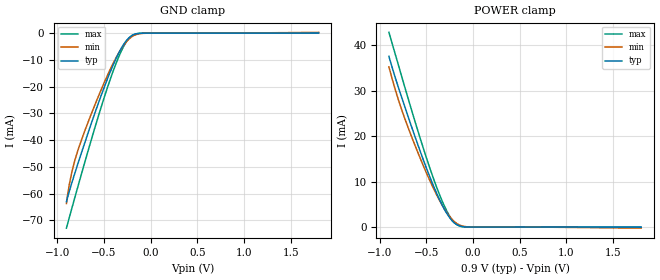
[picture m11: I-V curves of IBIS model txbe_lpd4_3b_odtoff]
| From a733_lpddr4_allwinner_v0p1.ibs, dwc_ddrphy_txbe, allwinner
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[Model] txbe_lpd4_3b_odtoff
Model_type   Input
Polarity   Non-Inverting
Enable   Active-High
C_comp   942.456fF   932.557fF   958.393fF
C_comp_pullup   267.858fF   266.286fF   270.905fF
C_comp_pulldown 549.385fF   542.484fF   565.976fF
Vinh = 427.000mV
Vinl = 307.000mV
[Model Spec]
D_overshoot_ampl_h 0.1 NA   NA
D_overshoot_ampl_l 0.1 NA   NA
D_overshoot_area_l 300.000m NA   NA
D_overshoot_area_h 300.000m NA   NA
[Receiver Thresholds]
Vth = 183.000mV
Vth_min = 177.000mV
Vth_max = 195.000mV
Vinh_ac = 60.000mV
Vinh_dc = 60.000mV
Vinl_ac = -60.000mV
Vinl_dc = -60.000mV
Tslew_ac = 5.000ns
Threshold_sensitivity = 0.5
Reference_supply Power_clamp_ref
[Temperature Range]   25.000   125.000   -40.000
[Voltage Range]   900.000mV   810.000mV   990.000mV
[GND Clamp Reference]   0.00V   0.00V   0.00V
[C Comp Corner]
| variable   typ   min   max
C_comp 942.456fF   958.393fF   932.557fF
C_comp_pullup 270.905fF   267.858fF   266.286fF
C_comp_pulldown 549.385fF   565.976fF   542.484fF
[POWER Clamp Reference]   900.000mV   810.000mV   990.000mV
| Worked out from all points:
|   GND clamp passes 1 mA (typ) near -0.20 V on its own axis
|   POWER clamp passes 1 mA (typ) near -0.20 V on its own axis
[GND Clamp]
-900mV    -63.03mA   -63.74mA   -72.92mA
-870mV    -59.23mA   -56.7mA    -69.06mA
-840mV    -55.73mA   -51.6mA    -65.25mA
-810mV    -52.38mA   -47.57mA   -61.47mA
-760mV    -46.97mA   -42.03mA   -55.24mA
-650mV    -35.42mA   -31.64mA   -41.81mA
-480mV    -18.81mA   -17.27mA   -22.36mA
-370mV    -9.572mA   -9.262mA   -11.43mA
-290mV    -4.331mA   -4.638mA   -5.112mA
-200mV    -903.5uA   -1.331mA   -935.7uA
-40mV     -3.989uA   -16.47uA   -1.578uA
1.8V      73.41uA    295.2uA    56.65uA
[Power Clamp]
-900mV    37.59mA    35.26mA    42.88mA
-800mV    30.83mA    28.11mA    35.78mA
-720mV    25.86mA    23.31mA    30.1mA
-560mV    16.38mA    14.9mA     19.19mA
-420mV    8.907mA    8.372mA    10.5mA
-360mV    6.103mA    5.92mA     7.216mA
-280mV    2.975mA    3.149mA    3.511mA
-220mV    1.297mA    1.59mA     1.488mA
-170mV    468.9uA    724uA      488.2uA
-110mV    85.44uA    196.7uA    66.54uA
-30mV     3.546uA    12.27uA    2.009uA
1.8V      -34.72uA   -241.5uA   -8.599uA
